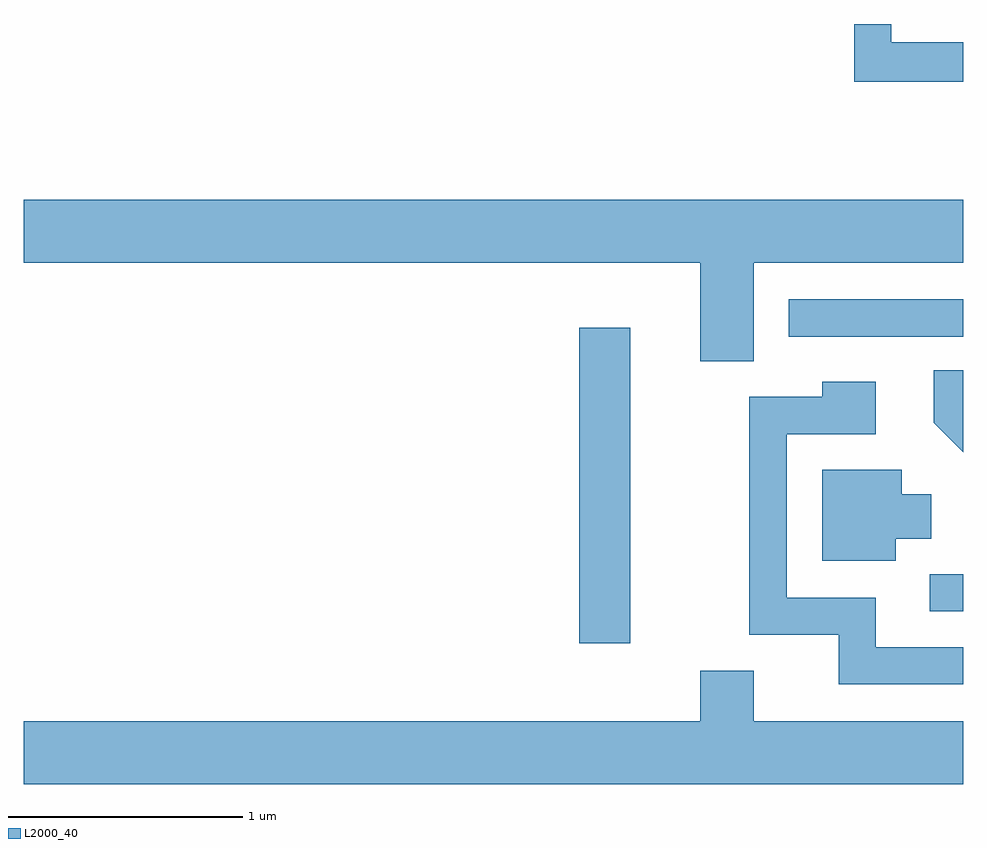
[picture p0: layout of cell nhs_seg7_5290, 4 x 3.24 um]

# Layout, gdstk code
import gdstk
lib = gdstk.Library(unit=1e-6, precision=1e-09)
def R(c, l, rs):  # rectangles x0, y0, x1, y1
    for r in rs: c.add(gdstk.rectangle(r[:2], r[2:], *l))
def P(c, l, *ps):  # polygons
    for p in ps: c.add(gdstk.Polygon(p, *l))
L2000_40 = (2000, 40)

nhs_seg7_5290 = lib.new_cell('nhs_seg7_5290')
R(nhs_seg7_5290, L2000_40, [(349.976,1681.616,350.194,1682.959), (351.468,1681.751,351.611,1681.909), (350.868,1682.921,351.611,1683.079)])
P(nhs_seg7_5290, L2000_40, [(351.611,1684.174),(351.304,1684.174),(351.304,1684.252),(351.146,1684.252),(351.146,1684.006),(351.611,1684.006)],
  [(350.719,1683.236),(351.611,1683.236),(351.611,1683.504),(347.611,1683.504),(347.611,1683.236),(350.491,1683.236),(350.491,1682.816),(350.719,1682.816)],
  [(351.611,1682.778),(351.486,1682.778),(351.486,1682.554),(351.611,1682.429)],
  [(351.611,1681.599),(351.239,1681.599),(351.239,1681.809),(350.859,1681.809),(350.859,1682.506),(351.239,1682.506),(351.239,1682.729),(351.011,1682.729),(351.011,1682.664),(350.701,1682.664),(350.701,1681.651),(351.081,1681.651),(351.081,1681.441),(351.611,1681.441)],
  [(351.324,1682.061),(351.474,1682.061),(351.474,1682.249),(351.349,1682.249),(351.349,1682.354),(351.011,1682.354),(351.011,1681.966),(351.324,1681.966)],
  [(351.611,1681.284),(350.719,1681.284),(350.719,1681.499),(350.491,1681.499),(350.491,1681.284),(347.611,1681.284),(347.611,1681.016),(351.611,1681.016)])

lib.write_gds('nhs_seg7_5290.gds')
